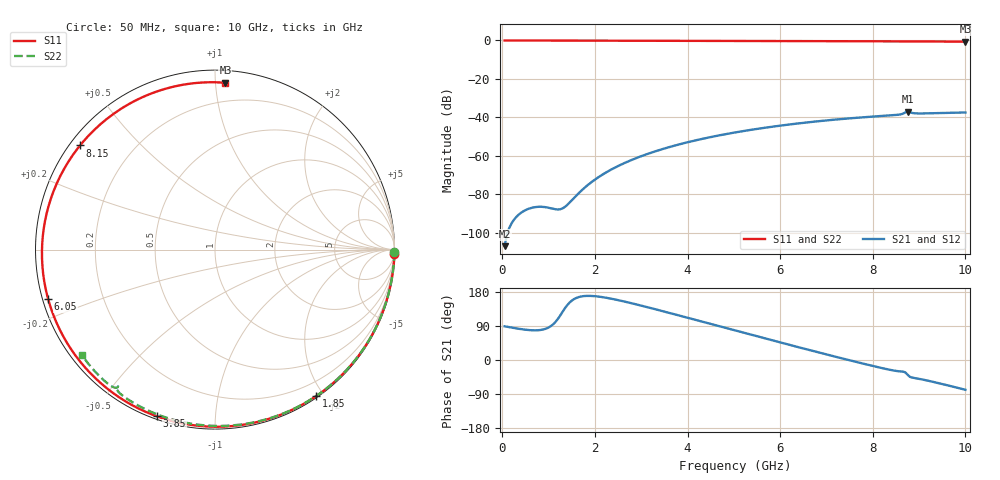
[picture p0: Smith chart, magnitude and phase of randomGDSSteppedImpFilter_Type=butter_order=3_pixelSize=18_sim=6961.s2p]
! freq	dB(S11)	phase(S11)	dB(S12)	phase(S12)
!  dB(S21)	phase(S21)	dB(S22)	phase(S22)
!S-par simulation data
#  GHz  S  DB  R 50
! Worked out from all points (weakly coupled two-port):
!   200 points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, 50 MHz to 10 GHz, reference 50 ohm
!   highest |S21| = -36.99 dB at 8.75 GHz (marker M1); lowest = -107.0 dB at 50 MHz (marker M2)
!   lowest |S11| = -0.6 dB at 10 GHz (marker M3), VSWR 28.06, Z = 3.79 + j53.1 ohm
!   |S11| at or under -10 dB: nowhere
!   |S22| runs from -0.6 to 0.0 dB; largest |S21 - S12| = 0
!   S11 on the Smith chart (normalised r, x): 50 MHz: 0, -74; 1.85 GHz: 0.02, -1.91; 3.85 GHz: 0.01, -0.71; 6.05 GHz: 0.02, -0.15; 8.15 GHz: 0.03, +0.34; 10 GHz: 0.08, +1.06
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0.05  -0.00 -1.5  -106.97 88.9  -106.97 88.9  -0.00 -0.8
0.8  -0.03 -24.4  -86.49 78.9  -86.49 78.9  -0.02 -12.9
1.6  -0.06 -48.1  -80.64 163.8  -80.64 163.8  -0.03 -25.7
1.75  -0.07 -52.5  -77.16 168.5  -77.16 168.5  -0.04 -28.1
1.85  -0.07 -55.3  -75.10 169.3  -75.10 169.3  -0.04 -29.7
2.15  -0.08 -63.9  -69.96 166.1  -69.96 166.1  -0.04 -34.3
2.5  -0.09 -73.6  -65.31 158.0  -65.31 158.0  -0.05 -39.8
2.9  -0.11 -84.4  -61.10 146.6  -61.10 146.6  -0.06 -45.9
3.4  -0.12 -97.7  -56.92 130.9  -56.92 130.9  -0.07 -53.4
3.85  -0.14 -109.2  -53.85 116.4  -53.85 116.4  -0.08 -60.0
4.45  -0.17 -124.3  -50.49 96.7  -50.49 96.7  -0.10 -68.7
5.05  -0.20 -139.0  -47.74 77.1  -47.74 77.1  -0.12 -77.2
6.05  -0.27 -163.4  -44.15 44.7  -44.15 44.7  -0.16 -90.8
6.7  -0.32 -179.5  -42.31 24.1  -42.31 24.1  -0.19 -99.4
7.45  -0.38 161.3  -40.60 0.8  -40.60 0.8  -0.24 -109.1
8.15  -0.45 142.3  -39.35 -20.0  -39.35 -20.0  -0.29 -118.1
8.35  -0.47 136.7  -39.03 -25.4  -39.03 -25.4  -0.31 -120.7
8.6  -0.49 129.6  -38.44 -30.2  -38.44 -30.2  -0.38 -124.3
8.75  -0.50 125.2  -36.99 -38.8  -36.99 -38.8  -0.60 -125.3
8.95  -0.52 119.3  -37.94 -48.6  -37.94 -48.6  -0.40 -127.4
9.4  -0.56 105.5  -37.75 -60.5  -37.75 -60.5  -0.41 -133.5
10  -0.62 86.4  -37.49 -78.6  -37.49 -78.6  -0.48 -141.5
